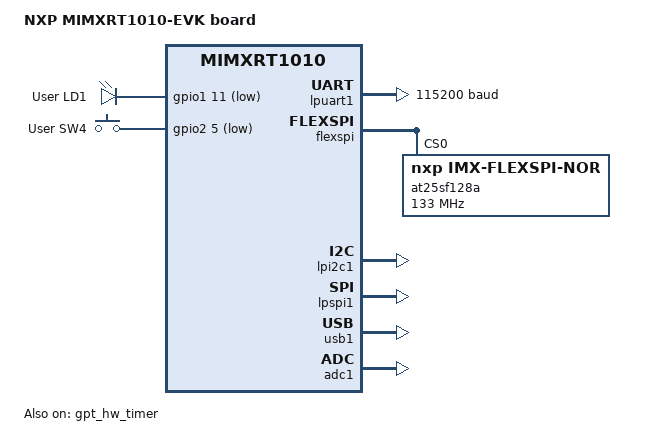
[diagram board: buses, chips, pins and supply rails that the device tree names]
/*
 * Copyright (c) 2019, NXP
 *
 * SPDX-License-Identifier: Apache-2.0
 */

/dts-v1/;

#include <nxp/nxp_rt1010.dtsi>
#include "mimxrt1010_evk-pinctrl.dtsi"

/ {
	model = "NXP MIMXRT1010-EVK board";
	compatible = "nxp,mimxrt1010";

	aliases {
		led0 = &green_led;
		sw0 = &user_button;
	};

	chosen {
		zephyr,sram = &ocram;
		zephyr,itcm = &itcm;
		zephyr,console = &lpuart1;
		zephyr,shell-uart = &lpuart1;
	};

	leds {
		compatible = "gpio-leds";
		green_led: led-1 {
			gpios = <&gpio1 11 GPIO_ACTIVE_LOW>;
			label = "User LD1";
		};
	};

	gpio_keys {
		compatible = "gpio-keys";
		user_button: button-1 {
			label = "User SW4";
			gpios = <&gpio2 5 GPIO_ACTIVE_LOW>;
		};
	};
};

arduino_serial: &lpuart1 {};

&lpuart4 {
	pinctrl-0 = <&pinmux_lpuart4>;
	pinctrl-1 = <&pinmux_lpuart4_sleep>;
	pinctrl-names = "default", "sleep";
};

&flexspi {
	reg = <0x400a0000 0x4000>, <0x60000000 DT_SIZE_M(16)>;
	at25sf128a: at25sf128a@0 {
		compatible = "nxp,imx-flexspi-nor";
		size = <134217728>;
		reg = <0>;
		spi-max-frequency = <133000000>;
		status = "okay";
		jedec-id = [1f 89 01];
	};
};

&lpi2c1 {
	status = "okay";
	pinctrl-0 = <&pinmux_lpi2c1>;
	pinctrl-names = "default";
};

&lpuart1 {
	status = "okay";
	current-speed = <115200>;
	pinctrl-0 = <&pinmux_lpuart1>;
	pinctrl-1 = <&pinmux_lpuart1_sleep>;
	pinctrl-names = "default", "sleep";
};

&lpspi1 {
	status = "okay";
	/* DMA channels 0 and 1, muxed to LPSPI1 RX and TX */
	dmas = <&edma0 0 13>, <&edma0 1 14>;
	dma-names = "rx", "tx";
	pinctrl-0 = <&pinmux_lpspi1>;
	pinctrl-names = "default";
};

zephyr_udc0: &usb1 {
	status = "okay";
};

&adc1 {
	status = "okay";
	pinctrl-0 = <&pinmux_adc1>;
	pinctrl-names = "default";
};

&sai1 {
	pinctrl-0 = <&pinmux_sai1>;
	pinctrl-names = "default";
};

&edma0 {
	status = "okay";
};

/* Enable GPT for use as a hardware timer. This disables Cortex Systick.
 * to use systick, change this node from "gpt_hw_timer" to "systick"
 */
&gpt_hw_timer {
	status = "okay";
};
